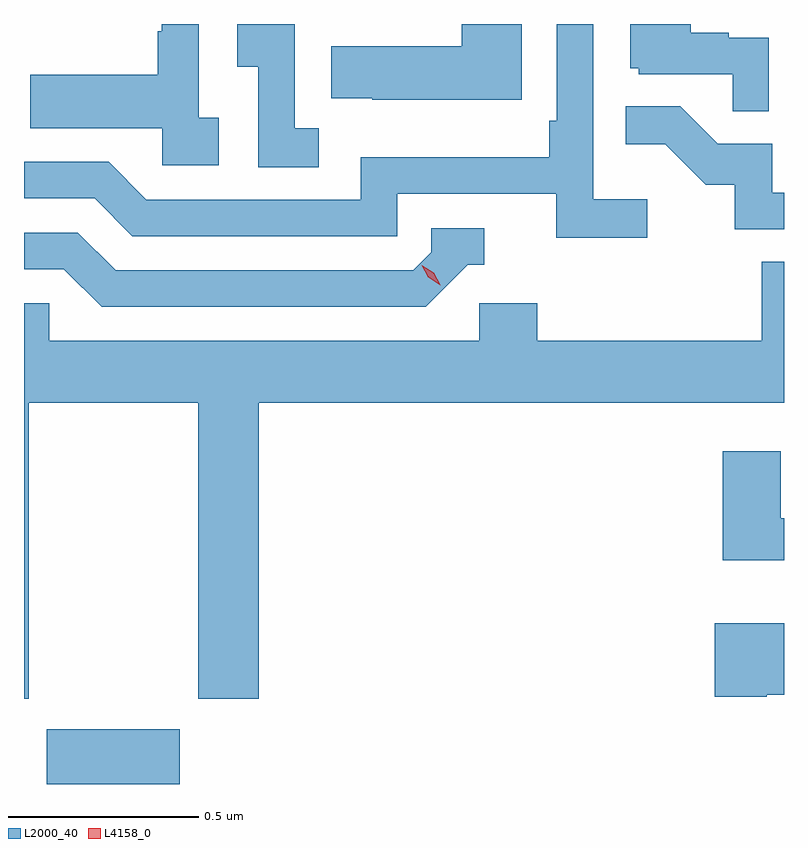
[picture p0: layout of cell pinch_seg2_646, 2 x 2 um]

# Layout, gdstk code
import gdstk
lib = gdstk.Library(unit=1e-6, precision=1e-09)
def R(c, l, rs):  # rectangles x0, y0, x1, y1
    for r in rs: c.add(gdstk.rectangle(r[:2], r[2:], *l))
def P(c, l, *ps):  # polygons
    for p in ps: c.add(gdstk.Polygon(p, *l))
L2000_40 = (2000, 40)
L4158_0 = (4158, 0)

pinch_seg2_646 = lib.new_cell('pinch_seg2_646')
R(pinch_seg2_646, L2000_40, [(1033.382,601.345,1033.732,601.489)])
P(pinch_seg2_646, L2000_40, [(1034.962,602.884),(1034.82,602.884),(1034.82,603.345),(1034.724,603.345),(1034.724,603.091),(1034.704,603.091),(1034.704,602.995),(1034.208,602.995),(1034.208,602.883),(1033.644,602.883),(1033.545,602.982),(1033.322,602.982),(1033.322,602.886),(1033.508,602.886),(1033.607,602.787),(1034.304,602.787),(1034.304,602.898),(1034.723,602.898),(1034.723,602.782),(1034.962,602.782)],
  [(1033.834,603.098),(1033.782,603.098),(1033.782,603.345),(1033.684,603.345),(1033.684,603.326),(1033.674,603.326),(1033.674,603.211),(1033.339,603.211),(1033.339,603.071),(1033.686,603.071),(1033.686,602.973),(1033.834,602.973)],
  [(1034.098,603.071),(1034.034,603.071),(1034.034,603.345),(1033.883,603.345),(1033.883,603.232),(1033.938,603.232),(1033.938,602.968),(1034.098,602.968)],
  [(1034.632,603.345),(1034.474,603.345),(1034.474,603.286),(1034.131,603.286),(1034.131,603.149),(1034.239,603.149),(1034.239,603.146),(1034.632,603.146)],
  [(1035.282,603.309),(1035.176,603.309),(1035.176,603.322),(1035.076,603.322),(1035.076,603.345),(1034.918,603.345),(1034.918,603.228),(1034.94,603.228),(1034.94,603.213),(1035.187,603.213),(1035.187,603.115),(1035.282,603.115)],
  [(1035.322,602.901),(1035.291,602.901),(1035.291,603.03),(1035.147,603.03),(1035.049,603.128),(1034.905,603.128),(1034.905,603.029),(1035.009,603.029),(1035.116,602.922),(1035.193,602.922),(1035.193,602.805),(1035.322,602.805)],
  [(1034.49,602.712),(1034.533,602.712),(1034.533,602.808),(1034.394,602.808),(1034.394,602.745),(1034.346,602.697),(1033.563,602.697),(1033.464,602.796),(1033.322,602.796),(1033.322,602.7),(1033.427,602.7),(1033.526,602.601),(1034.379,602.601)],
  [(1033.335,602.348),(1033.78,602.348),(1033.78,601.569),(1033.94,601.569),(1033.94,602.348),(1035.322,602.348),(1035.322,602.72),(1035.263,602.72),(1035.263,602.512),(1034.672,602.512),(1034.672,602.61),(1034.52,602.61),(1034.52,602.512),(1033.389,602.512),(1033.389,602.61),(1033.322,602.61),(1033.322,601.569),(1033.335,601.569)],
  [(1035.322,602.044),(1035.313,602.044),(1035.313,602.221),(1035.161,602.221),(1035.161,601.934),(1035.322,601.934)],
  [(1035.276,601.58),(1035.322,601.58),(1035.322,601.768),(1035.14,601.768),(1035.14,601.574),(1035.276,601.574)])
P(pinch_seg2_646, L4158_0, [(1034.417,602.658),(1034.386,602.678),(1034.369,602.71),(1034.369,602.71),(1034.369,602.71),(1034.4,602.691),(1034.417,602.659),(1034.417,602.658)])

lib.write_gds('pinch_seg2_646.gds')
